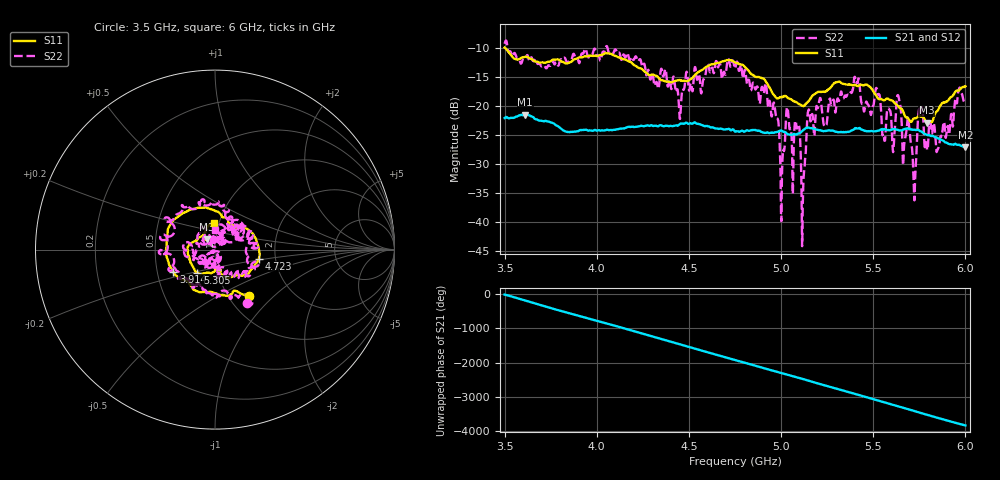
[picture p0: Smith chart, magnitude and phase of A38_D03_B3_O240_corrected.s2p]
! Created with skrf 1.9.0 (http://scikit-rf.org).
# Hz S RI R 50.0
!freq ReS11 ImS11 ReS21 ImS21 ReS12 ImS12 ReS22 ImS22
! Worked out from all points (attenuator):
!   1601 points, 3.5 GHz to 6 GHz, reference 50 ohm
!   highest |S21| = -21.44 dB at 3.611 GHz (marker M1); lowest = -27.0 dB at 6 GHz (marker M2)
!   lowest |S11| = -22.8 dB at 5.791 GHz (marker M3), VSWR 1.16, Z = 45.5 + j5.25 ohm
!   |S11| at or under -10 dB: 3.505 GHz to end of sweep
!   |S22| runs from -44.1 to -8.7 dB; largest |S21 - S12| = 0.00093
!   S11 on the Smith chart (normalised r, x): 3.5 GHz: 1.25, -0.71; 3.914 GHz: 0.61, -0.16; 4.723 GHz: 1.63, -0.18; 5.305 GHz: 0.80, -0.21; 6 GHz: 0.94, +0.29
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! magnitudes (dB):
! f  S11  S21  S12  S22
! 3.5 GHz  -9.9  -22.0  -22.0  -9.2
! 3.611 GHz  -11.5  -21.4  -21.5  -11.8
! 3.914 GHz  -11.6  -24.1  -24.1  -11.3
! 3.917 GHz  -11.6  -24.1  -24.1  -10.9
! 4.334 GHz  -15.1  -23.5  -23.4  -17.0
! 4.453 GHz  -15.5  -23.0  -23.0  -21.7
! 4.723 GHz  -12.1  -24.1  -24.0  -13.0
! 4.75 GHz  -12.5  -24.4  -24.3  -13.5
! 4.969 GHz  -18.4  -24.5  -24.4  -21.0
! 5.005 GHz  -18.4  -24.2  -24.2  -32.0
! 5.034 GHz  -18.5  -24.8  -24.7  -20.2
! 5.088 GHz  -19.4  -24.8  -24.8  -23.6
! 5.119 GHz  -19.9  -24.2  -24.1  -35.3
! 5.167 GHz  -18.3  -23.8  -23.8  -21.4
! 5.305 GHz  -15.8  -24.4  -24.4  -18.8
! 5.584 GHz  -18.8  -24.1  -24.1  -20.4
! 5.609 GHz  -19.2  -23.9  -23.9  -27.4
! 5.639 GHz  -20.2  -24.1  -24.1  -18.6
! 5.722 GHz  -22.1  -24.0  -24.0  -35.3
! 5.755 GHz  -21.8  -24.3  -24.2  -20.8
! 5.791 GHz  -22.8  -24.9  -24.9  -27.0
! 6 GHz  -16.6  -27.0  -27.0  -19.3
